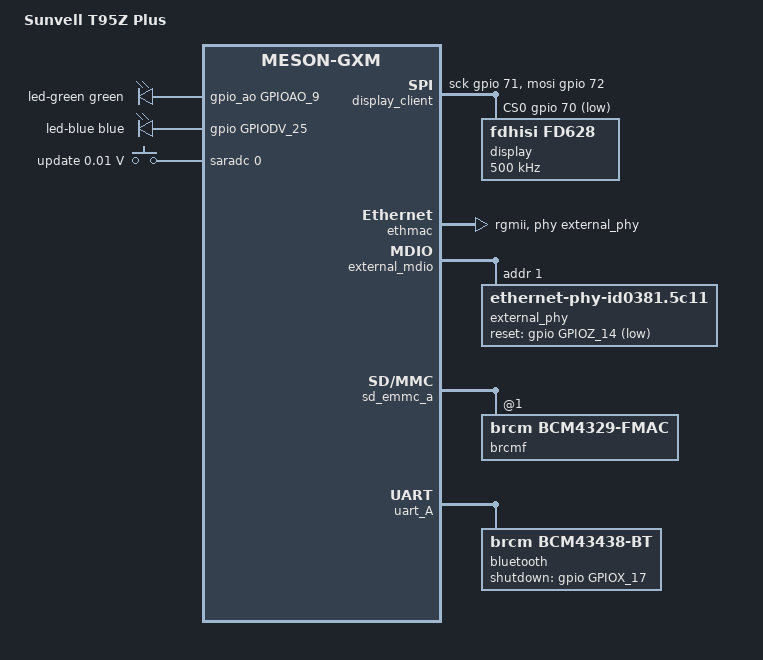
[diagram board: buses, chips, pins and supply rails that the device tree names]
// SPDX-License-Identifier: (GPL-2.0+ OR MIT)
/*
 * Copyright (c) Christian Hewitt <christianshewitt@gmail.com>
 */

/dts-v1/;

#include "meson-gxm.dtsi"
#include "meson-gx-p23x-q20x.dtsi"
#include <dt-bindings/input/input.h>
#include <dt-bindings/leds/common.h>

/ {
	compatible = "sunvell,t95z-plus", "amlogic,s912", "amlogic,meson-gxm";
	model = "Sunvell T95Z Plus";

	leds {
		compatible = "gpio-leds";

		led-green {
			color = <LED_COLOR_ID_GREEN>;
			function = LED_FUNCTION_POWER;
			gpios = <&gpio_ao GPIOAO_9 GPIO_ACTIVE_HIGH>;
			default-state = "on";
		};

		led-blue {
			color = <LED_COLOR_ID_BLUE>;
			function = LED_FUNCTION_POWER;
			gpios = <&gpio GPIODV_25 GPIO_ACTIVE_HIGH>;
			default-state = "off";
			panic-indicator;
		};
	};

	adc-keys {
		compatible = "adc-keys";
		io-channels = <&saradc 0>;
		io-channel-names = "buttons";
		keyup-threshold-microvolt = <1710000>;

		button-function {
			label = "update";
			linux,code = <KEY_VENDOR>;
			press-threshold-microvolt = <10000>;
		};
	};

	display_client: spi {
		#address-cells = <1>;
		#size-cells = <0>;
		compatible = "spi-gpio";
		sck-gpios = <&gpio 71 GPIO_ACTIVE_HIGH>;
		mosi-gpios = <&gpio 72 GPIO_ACTIVE_HIGH>;
		cs-gpios = <&gpio 70 GPIO_ACTIVE_LOW>;
		num-chipselects = <1>;

		display@0 {
			compatible = "fdhisi,fd628", "titanmec,tm1628";
			reg = <0>;
			spi-3wire;
			spi-lsb-first;
			spi-max-frequency = <500000>;

			digits {
				#address-cells = <1>;
				#size-cells = <0>;
				digit@0 {
					reg = <0>;
					segments = <1 3>,
						   <1 4>,
						   <1 5>,
						   <1 0>,
						   <1 1>,
						   <1 2>,
						   <1 6>;
				};
				digit@1 {
					reg = <1>;
					segments = <2 3>,
						   <2 4>,
						   <2 5>,
						   <2 0>,
						   <2 1>,
						   <2 2>,
						   <2 6>;
				};
				digit@2 {
					reg = <2>;
					segments = <3 3>,
						   <3 4>,
						   <3 5>,
						   <3 0>,
						   <3 1>,
						   <3 2>,
						   <3 6>;
				};
				digit@3 {
					reg = <3>;
					segments = <4 3>,
						   <4 4>,
						   <4 5>,
						   <4 0>,
						   <4 1>,
						   <4 2>,
						   <4 6>;
				};
			};

			leds {
				#address-cells = <2>;
				#size-cells = <0>;
				led@0,0 {
					reg = <0 0>;
					function = LED_FUNCTION_ALARM;
				};
				led@0,1 {
					reg = <0 1>;
					function = LED_FUNCTION_USB;
				};
				led@0,2 {
					reg = <0 2>;
					function = "play";
				};
				led@0,3 {
					reg = <0 3>;
					function = "pause";
				};
				led@0,4 {
					reg = <0 4>;
					function = "colon";
				};
				led@0,5 {
					reg = <0 5>;
					function = LED_FUNCTION_LAN;
				};
				led@0,6 {
					reg = <0 6>;
					function = LED_FUNCTION_WLAN;
				};
			};
		};
	};
};

&ethmac {
	pinctrl-0 = <&eth_pins>;
	pinctrl-names = "default";

	phy-handle = <&external_phy>;
	phy-mode = "rgmii";

	amlogic,tx-delay-ns = <2>;
};

&external_mdio {
	external_phy: ethernet-phy@1 {
		/* ZTE ZX2AA500 */
		compatible = "ethernet-phy-id0381.5c11",
			     "ethernet-phy-ieee802.3-c22";
		reg = <1>;
		max-speed = <1000>;

		reset-assert-us = <10000>;
		reset-deassert-us = <80000>;
		reset-gpios = <&gpio GPIOZ_14 GPIO_ACTIVE_LOW>;

		interrupt-parent = <&gpio_intc>;
		/* MAC_INTR on GPIOZ_15 */
		interrupts = <25 IRQ_TYPE_LEVEL_LOW>;
	};
};

&sd_emmc_a {
	brcmf: wifi@1 {
		reg = <1>;
		compatible = "brcm,bcm4329-fmac";
	};
};

&uart_A {
	status = "okay";
	pinctrl-0 = <&uart_a_pins>, <&uart_a_cts_rts_pins>;
	pinctrl-names = "default";
	uart-has-rtscts;

	bluetooth {
		compatible = "brcm,bcm43438-bt";
		shutdown-gpios = <&gpio GPIOX_17 GPIO_ACTIVE_HIGH>;
		max-speed = <2000000>;
		clocks = <&wifi32k>;
		clock-names = "lpo";
	};
};

/* pull-up the remote input pin, as board seems to be missing a pull-up resistor */
&remote_input_ao_pins {
	mux {
		/delete-property/ bias-disable;
		bias-pull-up;
	};
};

&ir {
	linux,rc-map-name = "rc-sunvell-t95z-plus-blue";
};
